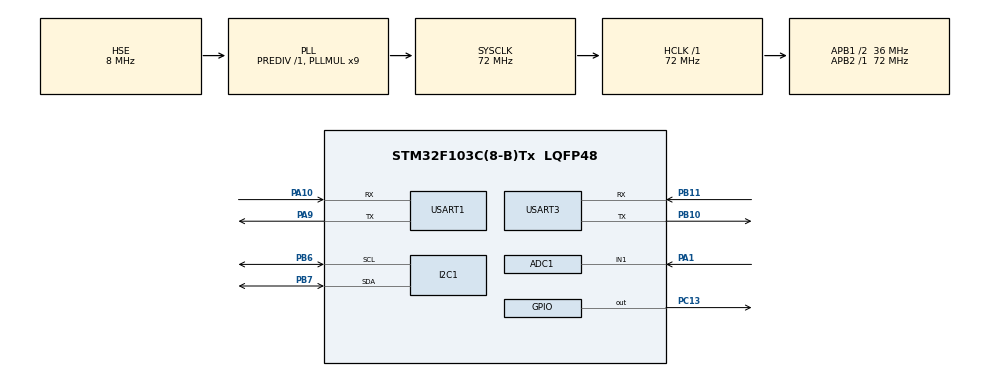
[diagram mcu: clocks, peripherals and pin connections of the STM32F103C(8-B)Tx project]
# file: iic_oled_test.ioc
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ADC1.Channel-4\#ChannelRegularConversion=ADC_CHANNEL_1
ADC1.NbrOfConversionFlag=1
ADC1.Rank-4\#ChannelRegularConversion=1
ADC1.SamplingTime-4\#ChannelRegularConversion=ADC_SAMPLETIME_1CYCLE_5
ADC1.master=1
Mcu.Family=STM32F1
Mcu.Name=STM32F103C(8-B)Tx
Mcu.Package=LQFP48
NVIC.PriorityGroup=NVIC_PRIORITYGROUP_4
NVIC.USART1_IRQn=true\:0\:0\:false\:false\:true\:true\:true
NVIC.USART3_IRQn=true\:0\:0\:false\:false\:true\:true\:true
PA1.Signal=ADCx_IN1
PA10.Mode=Asynchronous
PA10.Signal=USART1_RX
PA13.Mode=Serial_Wire
PA13.Signal=SYS_JTMS-SWDIO
PA14.Mode=Serial_Wire
PA14.Signal=SYS_JTCK-SWCLK
PA9.Mode=Asynchronous
PA9.Signal=USART1_TX
PB10.Mode=Asynchronous
PB10.Signal=USART3_TX
PB11.Mode=Asynchronous
PB11.Signal=USART3_RX
PB6.Mode=I2C
PB6.Signal=I2C1_SCL
PB7.Mode=I2C
PB7.Signal=I2C1_SDA
PC13-TAMPER-RTC.Signal=GPIO_Output
PD0-OSC_IN.Mode=HSE-External-Oscillator
PD0-OSC_IN.Signal=RCC_OSC_IN
PD1-OSC_OUT.Mode=HSE-External-Oscillator
PD1-OSC_OUT.Signal=RCC_OSC_OUT
ProjectManager.HeapSize=0x200
ProjectManager.StackSize=0x400
ProjectManager.TargetToolchain=MDK-ARM V5.27
RCC.ADCPresc=RCC_ADCPCLK2_DIV6
RCC.AHBFreq_Value=72000000
RCC.APB1CLKDivider=RCC_HCLK_DIV2
RCC.APB1Freq_Value=36000000
RCC.APB1TimFreq_Value=72000000
RCC.APB2Freq_Value=72000000
RCC.APB2TimFreq_Value=72000000
RCC.HCLKFreq_Value=72000000
RCC.PLLMUL=RCC_PLL_MUL9
RCC.PLLSourceVirtual=RCC_PLLSOURCE_HSE
RCC.SYSCLKFreq_VALUE=72000000
RCC.SYSCLKSource=RCC_SYSCLKSOURCE_PLLCLK
RCC.USBFreq_Value=72000000
SH.ADCx_IN1.0=ADC1_IN1,IN1
USART1.VirtualMode=VM_ASYNC
USART3.VirtualMode=VM_ASYNC
board=custom

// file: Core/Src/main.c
/* USER CODE BEGIN Header */
/**
  ******************************************************************************
  * @file           : main.c
  * @brief          : TRNG 项目     嘤嘤嘤 团队
  * @author         : framist
  ******************************************************************************
  * @attention 项目构建中...请时刻关注更新！
  *            项目开源地址：https://github.com/framist/TRNG_ying
  *
  *            如果你有什么好的建议或者更好的功能，请告诉我，我会添加的！
  *
  *            IO管脚说明：
  *
  *
  *            使用 STM32F103C8T6
  *
  ******************************************************************************
  */
/* USER CODE END Header */
#include "main.h"
#include "adc.h"
#include "i2c.h"
#include "usart.h"
#include "gpio.h"

/* USER CODE BEGIN Includes */
#include "./OLED/oled.h"
#include "./IMU901/imu901.h"
#include "./HOSTPC/hostPC.h"
#include "./GM/sm2.h"
/* USER CODE END Includes */

void SystemClock_Config(void);

/* USER CODE BEGIN 0 */

static void welcome(void) {
    Display_welcome();
    HAL_Delay(1000);
}

static int init_entropy_ADC(){
    OLED_ShowString(2, 2,  "ADC   ", 12, 1);
    HAL_Delay(100);
    return 1;
}

/**
 * @brief
 *
 * @return int 1 存在
 */
static int init_entropy_imu901() {
    int f = 0;

    imu901_init();							/* IMU901模块初始 */
    imu901_read_once();
    if (baroData.pressure != 0){
        f = 1; //临时的判断 TODO
    }

    OLED_ShowString(42, 2, "Bar.  ", 12, f);  //barometer
    HAL_Delay(100);
    OLED_ShowString(82, 2, "Acc.*3", 12, f); //accelerometer
    HAL_Delay(100);
    OLED_ShowString(2, 3,  "Mag.*3", 12, f);  //magnetometer
    HAL_Delay(100);
    OLED_ShowString(42, 3, "Gyr.*3", 12, f); //gyroscope
    HAL_Delay(200);
    return f;
}

static int init_entropy_geiger(){
    // TODO
    OLED_ShowString(82, 3, "Geiger", 12, 0); //Geiger

    return 1;
}

/* USER CODE END 0 */

int main(void)
{
  /* USER CODE BEGIN 1 */
  int imu901Flag = 0;
  uint32_t e_old = 0; //用于异或输出
  /* USER CODE END 1 */

  /* MCU Configuration--------------------------------------------------------*/

  /* Reset of all peripherals, Initializes the Flash interface and the Systick. */
  HAL_Init();

  /* Configure the system clock */
  SystemClock_Config();

  /* Initialize all configured peripherals */
  MX_GPIO_Init();
  MX_I2C1_Init();
  MX_USART1_UART_Init();
  MX_ADC1_Init();
  MX_USART3_UART_Init();
  /* USER CODE BEGIN 2 */

  OLED_Init(1);         // 初始化OLED
  welcome();            //欢迎界面
  host_connect();         //连接 PC

  //初始化熵源
  OLED_Clear();
  OLED_ShowString(0, 0, "find source...", 16, 0);
  init_entropy_ADC();                   //初始化ADC熵源
  imu901Flag = init_entropy_imu901();   //初始化imu901熵源
  init_entropy_geiger();                //初始化盖革计数器源
  //开始输出
  OLED_ShowString(0, 0, "[TRNG]running...", 16, 0);

  /* USER CODE END 2 */

  /* Infinite loop */
  while (1)
  {

    /* USER CODE BEGIN 3 */

    HAL_GPIO_TogglePin(GPIOC,GPIO_PIN_13); // 翻转LED

    ADC_read_print(e_old);
    host_msg_wait();

    if(imu901Flag) {
        e_old = imu901_read_Entropy();
        // host_msg_wait();
    }

  }
  /* USER CODE END 3 */
}

void SystemClock_Config(void)
{
  RCC_OscInitTypeDef RCC_OscInitStruct = {0};
  RCC_ClkInitTypeDef RCC_ClkInitStruct = {0};
  RCC_PeriphCLKInitTypeDef PeriphClkInit = {0};

  /** Initializes the RCC Oscillators according to the specified parameters
  * in the RCC_OscInitTypeDef structure.
  */
  RCC_OscInitStruct.OscillatorType = RCC_OSCILLATORTYPE_HSE;
  RCC_OscInitStruct.HSEState = RCC_HSE_ON;
  RCC_OscInitStruct.HSEPredivValue = RCC_HSE_PREDIV_DIV1;
  RCC_OscInitStruct.HSIState = RCC_HSI_ON;
  RCC_OscInitStruct.PLL.PLLState = RCC_PLL_ON;
  RCC_OscInitStruct.PLL.PLLSource = RCC_PLLSOURCE_HSE;
  RCC_OscInitStruct.PLL.PLLMUL = RCC_PLL_MUL9;
  if (HAL_RCC_OscConfig(&RCC_OscInitStruct) != HAL_OK)
  {
    Error_Handler();
  }
  /** Initializes the CPU, AHB and APB buses clocks
  */
  RCC_ClkInitStruct.ClockType = RCC_CLOCKTYPE_HCLK|RCC_CLOCKTYPE_SYSCLK
                              |RCC_CLOCKTYPE_PCLK1|RCC_CLOCKTYPE_PCLK2;
  RCC_ClkInitStruct.SYSCLKSource = RCC_SYSCLKSOURCE_PLLCLK;
  RCC_ClkInitStruct.AHBCLKDivider = RCC_SYSCLK_DIV1;
  RCC_ClkInitStruct.APB1CLKDivider = RCC_HCLK_DIV2;
  RCC_ClkInitStruct.APB2CLKDivider = RCC_HCLK_DIV1;

  if (HAL_RCC_ClockConfig(&RCC_ClkInitStruct, FLASH_LATENCY_2) != HAL_OK)
  {
    Error_Handler();
  }
  PeriphClkInit.PeriphClockSelection = RCC_PERIPHCLK_ADC;
  PeriphClkInit.AdcClockSelection = RCC_ADCPCLK2_DIV6;
  if (HAL_RCCEx_PeriphCLKConfig(&PeriphClkInit) != HAL_OK)
  {
    Error_Handler();
  }
}

void Error_Handler(void)
{
  __disable_irq();
  while (1)
  {
  }
}

/************************ (C) COPYRIGHT STMicroelectronics *****END OF FILE****/
